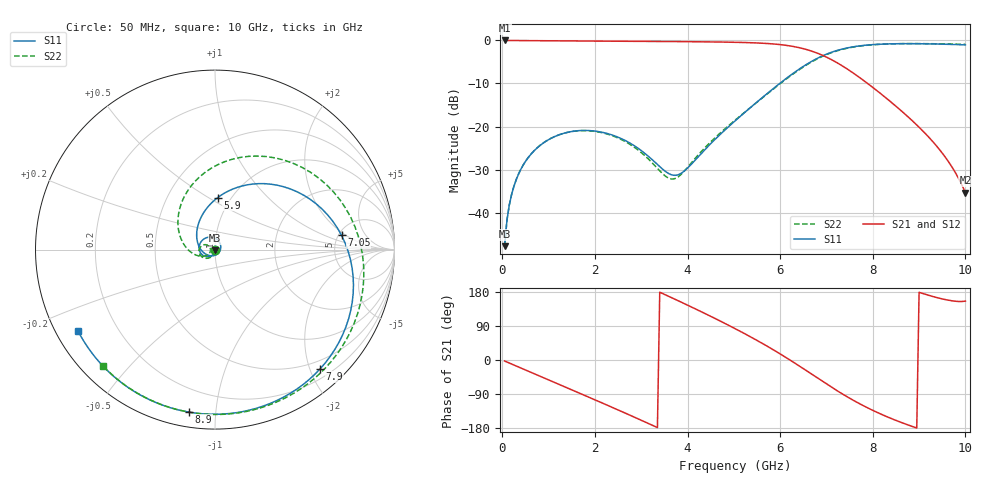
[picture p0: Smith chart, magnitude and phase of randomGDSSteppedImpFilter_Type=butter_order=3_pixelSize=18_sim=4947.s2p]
! freq	dB(S11)	phase(S11)	dB(S12)	phase(S12)
!  dB(S21)	phase(S21)	dB(S22)	phase(S22)
!S-par simulation data
#  GHz  S  DB  R 50
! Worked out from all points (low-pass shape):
!   200 points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, 50 MHz to 10 GHz, reference 50 ohm
!   highest |S21| = -0.01 dB at 50 MHz (marker M1); lowest = -35.4 dB at 10 GHz (marker M2)
!   |S21| within 3 dB of the highest: start of sweep to 6.814 GHz
!   lowest |S11| = -47.8 dB at 50 MHz (marker M3), VSWR 1.01, Z = 50 - j0.409 ohm
!   |S11| at or under -10 dB: start of sweep to 5.989 GHz
!   |S22| runs from -47.8 to -0.7 dB; largest |S21 - S12| = 0
!   S11 on the Smith chart (normalised r, x): 50 MHz: 1.00, -0.01; 5.9 GHz: 0.87, +0.55; 7.05 GHz: 5.32, +1.70; 7.9 GHz: 0.35, -2.17; 8.9 GHz: 0.07, -0.85; 10 GHz: 0.06, -0.27
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0.05  -47.77 -88.7  -0.01 -2.7  -0.01 -2.7  -47.76 -88.0
0.1  -41.79 -93.8  -0.01 -5.3  -0.01 -5.3  -41.77 -92.6
0.2  -35.81 -100.8  -0.02 -10.6  -0.02 -10.6  -35.79 -98.4
0.5  -28.11 -119.3  -0.04 -26.3  -0.04 -26.3  -28.09 -113.1
1.15  -22.23 -158.6  -0.10 -60.3  -0.10 -60.3  -22.23 -143.6
1.75  -20.90 163.8  -0.14 -91.8  -0.14 -91.8  -20.94 -170.1
2.7  -23.49 95.9  -0.19 -142.6  -0.19 -142.6  -23.75 155.3
3.4  -29.30 19.9  -0.23 178.9  -0.23 178.9  -30.28 156.4
3.75  -31.31 -46.4  -0.26 159.1  -0.26 159.1  -31.99 -169.7
4.35  -25.65 -145.3  -0.32 124.3  -0.32 124.3  -25.19 -145.3
5.05  -18.45 147.9  -0.44 81.3  -0.44 81.3  -18.31 -168.6
5.45  -14.75 118.0  -0.56 55.1  -0.56 55.1  -14.78 168.0
5.9  -10.76 87.1  -0.86 23.5  -0.86 23.5  -10.89 135.2
6.3  -7.49 59.9  -1.44 -6.9  -1.44 -6.9  -7.63 101.6
6.7  -4.74 31.6  -2.55 -39.0  -2.55 -39.0  -4.86 65.8
7.05  -2.98 6.4  -4.14 -67.1  -4.14 -67.1  -3.07 34.6
7.45  -1.74 -21.0  -6.64 -97.3  -6.64 -97.3  -1.80 1.4
7.9  -1.05 -48.6  -10.08 -126.9  -10.08 -126.9  -1.09 -30.9
8.35  -0.80 -72.8  -13.92 -152.0  -13.92 -152.0  -0.81 -58.2
8.9  -0.75 -99.2  -19.12 -177.3  -19.12 -177.3  -0.74 -86.4
9.55  -0.88 -128.6  -26.87 159.9  -26.87 159.9  -0.81 -115.3
10  -1.03 -149.4  -35.37 155.5  -35.37 155.5  -0.92 -133.9
